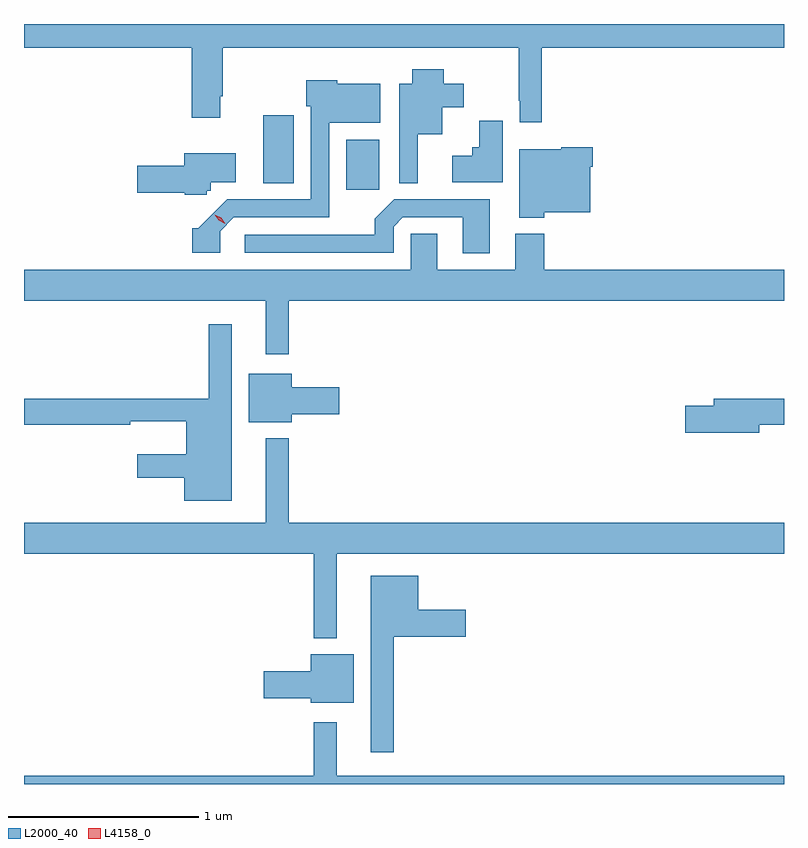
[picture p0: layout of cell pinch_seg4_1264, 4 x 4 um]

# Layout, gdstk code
import gdstk
lib = gdstk.Library(unit=1e-6, precision=1e-09)
def R(c, l, rs):  # rectangles x0, y0, x1, y1
    for r in rs: c.add(gdstk.rectangle(r[:2], r[2:], *l))
def P(c, l, *ps):  # polygons
    for p in ps: c.add(gdstk.Polygon(p, *l))
L2000_40 = (2000, 40)
L4158_0 = (4158, 0)

pinch_seg4_1264 = lib.new_cell('pinch_seg4_1264')
R(pinch_seg4_1264, L2000_40, [(339.596,777.425,339.772,777.688)])
P(pinch_seg4_1264, L2000_40, [(340.625,778.172),(341.901,778.172),(341.901,778.297),(337.901,778.297),(337.901,778.172),(338.783,778.172),(338.783,777.804),(338.935,777.804),(338.935,777.916),(338.948,777.916),(338.948,778.172),(340.504,778.172),(340.504,777.892),(340.509,777.892),(340.509,777.78),(340.625,777.78)],
  [(339.974,777.716),(340.102,777.716),(340.102,777.86),(340.216,777.86),(340.216,777.982),(340.11,777.982),(340.11,778.06),(339.944,778.06),(339.944,777.982),(339.876,777.982),(339.876,777.46),(339.974,777.46)],
  [(338.934,777.207),(339.006,777.279),(339.507,777.279),(339.507,777.776),(339.775,777.776),(339.775,777.982),(339.549,777.982),(339.549,778),(339.386,778),(339.386,777.864),(339.411,777.864),(339.411,777.375),(338.97,777.375),(338.818,777.223),(338.787,777.223),(338.787,777.093),(338.934,777.093)],
  [(339.322,777.704),(339.321,777.704),(339.321,777.817),(339.161,777.817),(339.161,777.46),(339.322,777.46)],
  [(340.42,777.787),(340.298,777.787),(340.298,777.649),(340.259,777.649),(340.259,777.604),(340.155,777.604),(340.155,777.464),(340.42,777.464)],
  [(340.638,777.305),(340.882,777.305),(340.882,777.545),(340.895,777.545),(340.895,777.649),(340.728,777.649),(340.728,777.637),(340.508,777.637),(340.508,777.278),(340.638,777.278)],
  [(338.862,777.42),(338.883,777.42),(338.883,777.464),(339.016,777.464),(339.016,777.616),(338.744,777.616),(338.744,777.551),(338.496,777.551),(338.496,777.409),(338.748,777.409),(338.748,777.399),(338.862,777.399)],
  [(340.351,777.375),(339.849,777.375),(339.748,777.273),(339.748,777.189),(339.063,777.189),(339.063,777.093),(339.846,777.093),(339.846,777.231),(339.894,777.279),(340.211,777.279),(340.211,777.09),(340.351,777.09)],
  [(339.295,776.84),(341.901,776.84),(341.901,777.004),(340.64,777.004),(340.64,777.193),(340.487,777.193),(340.487,777.004),(340.075,777.004),(340.075,777.194),(339.936,777.194),(339.936,777.004),(337.901,777.004),(337.901,776.84),(339.173,776.84),(339.173,776.559),(339.295,776.559)],
  [(338.995,776.716),(338.874,776.716),(338.874,776.324),(337.901,776.324),(337.901,776.188),(338.46,776.188),(338.46,776.207),(338.756,776.207),(338.756,776.032),(338.496,776.032),(338.496,775.91),(338.744,775.91),(338.744,775.787),(338.995,775.787)],
  [(339.31,776.243),(339.559,776.243),(339.559,776.385),(339.31,776.385),(339.31,776.455),(339.083,776.455),(339.083,776.201),(339.31,776.201)],
  [(341.77,776.188),(341.901,776.188),(341.901,776.324),(341.531,776.324),(341.531,776.288),(341.382,776.288),(341.382,776.146),(341.77,776.146)],
  [(339.547,775.508),(341.901,775.508),(341.901,775.672),(339.295,775.672),(339.295,776.116),(339.173,776.116),(339.173,775.672),(337.901,775.672),(337.901,775.508),(339.426,775.508),(339.426,775.064),(339.547,775.064)],
  [(339.847,775.073),(340.225,775.073),(340.225,775.215),(339.976,775.215),(339.976,775.393),(339.725,775.393),(339.725,774.465),(339.847,774.465)],
  [(339.637,774.979),(339.41,774.979),(339.41,774.89),(339.162,774.89),(339.162,774.748),(339.41,774.748),(339.41,774.725),(339.637,774.725)],
  [(341.901,774.34),(339.547,774.34),(339.547,774.622),(339.426,774.622),(339.426,774.34),(337.901,774.34),(337.901,774.297),(341.901,774.297)])
P(pinch_seg4_1264, L4158_0, [(338.959,777.246),(338.926,777.263),(338.906,777.294),(338.906,777.294),(338.906,777.294),(338.94,777.278),(338.96,777.246),(338.96,777.246)])

lib.write_gds('pinch_seg4_1264.gds')
